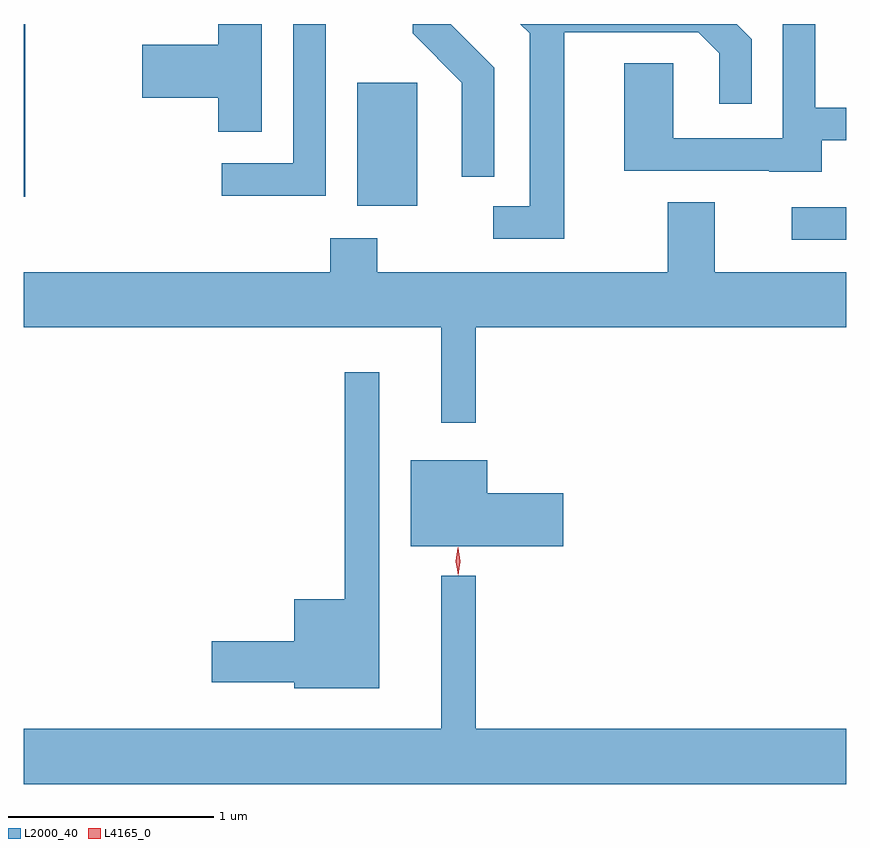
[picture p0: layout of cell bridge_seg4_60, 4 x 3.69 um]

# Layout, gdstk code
import gdstk
lib = gdstk.Library(unit=1e-6, precision=1e-09)
def R(c, l, rs):  # rectangles x0, y0, x1, y1
    for r in rs: c.add(gdstk.rectangle(r[:2], r[2:], *l))
def P(c, l, *ps):  # polygons
    for p in ps: c.add(gdstk.Polygon(p, *l))
L2000_40 = (2000, 40)
L4165_0 = (4165, 0)

bridge_seg4_60 = lib.new_cell('bridge_seg4_60')
R(bridge_seg4_60, L2000_40, [(1318.463,1357.321,1318.73,1357.479), (1316.351,1357.486,1316.644,1358.084), (1314.73,1357.531,1314.739,1358.37)])
P(bridge_seg4_60, L2000_40, [(1317.359,1358.331),(1318.009,1358.331),(1318.111,1358.229),(1318.111,1357.983),(1318.269,1357.983),(1318.269,1358.297),(1318.196,1358.37),(1317.145,1358.37),(1317.191,1358.324),(1317.191,1357.484),(1317.013,1357.484),(1317.013,1357.326),(1317.359,1357.326)],
  [(1316.199,1358.37),(1316.041,1358.37),(1316.041,1357.694),(1315.693,1357.694),(1315.693,1357.536),(1316.199,1357.536)],
  [(1317.019,1358.157),(1316.806,1358.37),(1316.621,1358.37),(1316.621,1358.324),(1316.861,1358.084),(1316.861,1357.628),(1317.019,1357.628)],
  [(1315.889,1358.37),(1315.676,1358.37),(1315.676,1358.269),(1315.306,1358.269),(1315.306,1358.011),(1315.676,1358.011),(1315.676,1357.846),(1315.889,1357.846)],
  [(1318.609,1357.806),(1318.73,1357.806),(1318.73,1357.964),(1318.579,1357.964),(1318.579,1358.37),(1318.421,1358.37),(1318.421,1357.814),(1317.889,1357.814),(1317.889,1358.179),(1317.651,1358.179),(1317.651,1357.656),(1318.355,1357.656),(1318.355,1357.651),(1318.609,1357.651)],
  [(1316.929,1356.896),(1318.73,1356.896),(1318.73,1357.164),(1318.089,1357.164),(1318.089,1357.504),(1317.861,1357.504),(1317.861,1357.164),(1316.449,1357.164),(1316.449,1357.329),(1316.221,1357.329),(1316.221,1357.164),(1314.73,1357.164),(1314.73,1356.896),(1316.761,1356.896),(1316.761,1356.433),(1316.929,1356.433)],
  [(1316.459,1356.678),(1316.291,1356.678),(1316.291,1355.574),(1316.046,1355.574),(1316.046,1355.369),(1315.646,1355.369),(1315.646,1355.171),(1316.046,1355.171),(1316.046,1355.141),(1316.459,1355.141)],
  [(1317.354,1356.089),(1316.984,1356.089),(1316.984,1356.249),(1316.611,1356.249),(1316.611,1355.831),(1317.354,1355.831)],
  [(1318.73,1354.944),(1316.929,1354.944),(1316.929,1355.688),(1316.761,1355.688),(1316.761,1354.944),(1314.73,1354.944),(1314.73,1354.676),(1318.73,1354.676)])
P(bridge_seg4_60, L4165_0, [(1316.842,1355.69),(1316.832,1355.758),(1316.841,1355.825),(1316.842,1355.826),(1316.842,1355.825),(1316.852,1355.758),(1316.843,1355.69),(1316.843,1355.69)],
  [(1316.843,1355.693),(1316.842,1355.694),(1316.832,1355.756),(1316.841,1355.819),(1316.841,1355.82),(1316.842,1355.819),(1316.852,1355.756),(1316.843,1355.694)])

lib.write_gds('bridge_seg4_60.gds')
